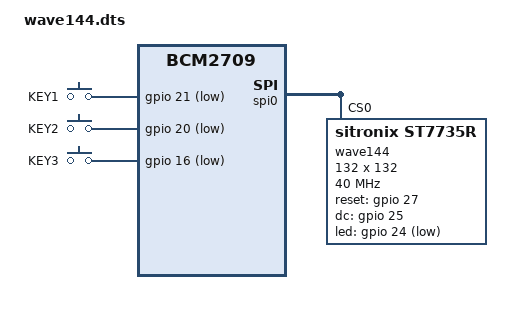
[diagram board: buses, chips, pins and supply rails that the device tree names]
/*
 * Device Tree Overlay for Waveshare 1.44inch LCD HAT
 *
 */

/dts-v1/;
/plugin/;

/ {
    compatible = "brcm,bcm2835", "brcm,bcm2708", "brcm,bcm2709";

    fragment@0 {
        target = <&spi0>;
        __overlay__ {
            status = "okay";

            spidev@0{
            status = "disabled";
            };

            spidev@1{
            status = "disabled";
            };
        };
    };

    fragment@1 {
        target = <&gpio>;
            __overlay__ {
                lcd_pins: lcd_pins {
                    brcm,pins = <27 25 24>;
                    brcm,function = <1 1 1>;
                } ;
                key_pins: key_pins {
                    brcm,pins = <21 20 16> ;
                    brcm,pull = <2 2 2> ;
                    brcm,function = <0 0 0> ;
                } ;
                joy_pins: joy_pins {
                    brcm,pins = <26 19 13 6 5> ;
                    brcm,pull = <2 2 2 2 2> ;
                    brcm,function = <0 0 0 0 0> ;
                } ;
            } ;
       } ;


    fragment@2 {
        target = <&spi0>;
        __overlay__ {
            /* needed to avoid dtc warning */
            #address-cells = <1>;
            #size-cells = <0>;

            wave144: wave144@0{
                compatible = "sitronix,st7735r";
                reg = <0>;
                pinctrl-names = "default";
                pinctrl-0 = <&lcd_pins> ;

                spi-max-frequency = <40000000>;
                rotate = <90> ;
                fps = <20> ;
                buswidth = <8>;
                reset-gpios = <&gpio 27 0>;
                dc-gpios = <&gpio 25 0>;
                led-gpios = <&gpio 24 1>;       
                width = <132> ;
                height = <132> ;
                custom = <1> ;
                debug = <0>;

                init = <
                    0x1000001                       // SWRESET
                    0x2000080
                    0x1000011                       // SLPOUT
                    0x2000200
                    0x10000b1 0x01 0x2c 0x2d        // FRMCTR1  
                    0x10000b2 0x01 0x2c 0x2d        // FRMCTR2
                    0x10000b3 0x01 0x2c 0x2d 0x01 0x2c 0x2d // FRMCTR3
                    0x10000b4 0x07                  // Display inversion control
                    0x10000c0 0xa2 0x02 0x84 0xc1 0xc5 // Power control
                    0x10000c2 0x0a 0x00             // Op Amp
                    0x10000c3 0x8a 0x2a 
                    0x10000c4 0x8a 0xee 
                    0x10000c5 0x0e
                    
                    // Gamma
                    0x10000e0 0x0f 0x1a 0x0f 0x18 0x2f 0x28 0x20 0x22 0x1f 0x1b 0x23 0x37 0x00 0x07 0x02 0x10
                    0x10000e1 0x0f 0x1a 0x0f 0x18 0x2f 0x28 0x20 0x22 0x1f 0x1b 0x23 0x37 0x00 0x07 0x02 0x10
    
                    0x10000f0 0x01
                    0x10000f6 0x00
                    0x100003a 0x05                  // COLMOD 5 (16bpp)
                    0x1000020                       // INVOFF
                    0x1000029                       // DISPON
                    0x2000080
                    0x1000013                       // NORON
                    0x2000010
                > ;
            } ;
        } ;
    } ;

    fragment@3 {
        target-path = "/soc" ;
        __overlay__ {
            wave144_keys: wave144_keys@0 {
                compatible = "gpio-keys" ;
                #address-cells = <1>;
                #size-cells = <0>;
                pinctrl-names = "default" ;
                pinctrl-0 = <&key_pins> ;
                key@1 {
                    label = "KEY1";
                    linux,code = <30>;
                    gpios = <&gpio 21 1> ;
                } ;
                key@2 {
                    label = "KEY2";
                    linux,code = <48>;
                    gpios = <&gpio 20 1> ;
                } ;
                key@3 {
                     label = "KEY3";
                     linux,code = <46>;
                     gpios = <&gpio 16 1> ;
                } ;
            };
        } ;
    } ;
 
    __overrides__ {
        debug = <&wave144>,"debug:0";
        custom =    <&wave144>,"custom:0";
    } ;
} ;
